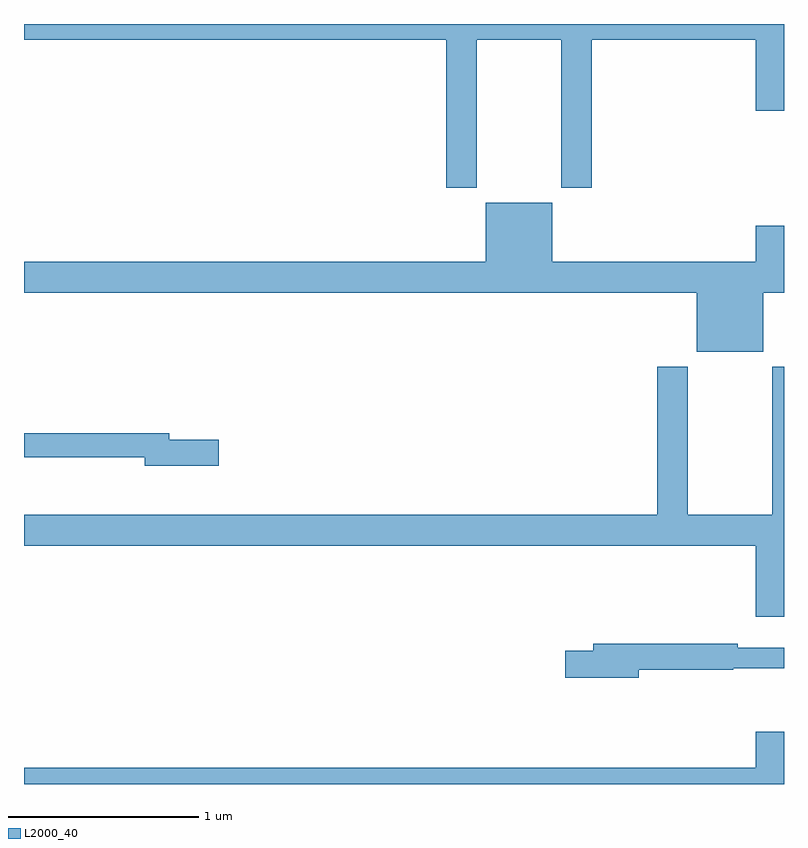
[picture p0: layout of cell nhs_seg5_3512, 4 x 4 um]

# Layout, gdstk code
import gdstk
lib = gdstk.Library(unit=1e-6, precision=1e-09)
def P(c, l, *ps):  # polygons
    for p in ps: c.add(gdstk.Polygon(p, *l))
L2000_40 = (2000, 40)

nhs_seg5_3512 = lib.new_cell('nhs_seg5_3512')
P(nhs_seg5_3512, L2000_40, [(319.383,900.716),(319.828,900.716),(319.828,899.937),(319.988,899.937),(319.988,900.716),(320.852,900.716),(320.852,900.342),(321,900.342),(321,900.799),(317,900.799),(317,900.716),(319.223,900.716),(319.223,899.937),(319.383,899.937)],
  [(319.43,899.857),(319.43,899.548),(317,899.548),(317,899.384),(320.54,899.384),(320.54,899.075),(320.89,899.075),(320.89,899.384),(321,899.384),(321,899.737),(320.852,899.737),(320.852,899.548),(319.78,899.548),(319.78,899.857)],
  [(321,898.996),(320.938,898.996),(320.938,898.216),(320.493,898.216),(320.493,898.996),(320.333,898.996),(320.333,898.216),(317,898.216),(317,898.052),(320.852,898.052),(320.852,897.678),(321,897.678)],
  [(318.025,898.61),(317.764,898.61),(317.764,898.646),(317,898.646),(317,898.518),(317.636,898.518),(317.636,898.475),(318.025,898.475)],
  [(320.236,897.4),(320.732,897.4),(320.732,897.408),(321,897.408),(321,897.517),(320.756,897.517),(320.756,897.536),(319.997,897.536),(319.997,897.5),(319.848,897.5),(319.848,897.358),(320.236,897.358)],
  [(317,896.799),(321,896.799),(321,897.073),(320.852,897.073),(320.852,896.884),(317,896.884)])

lib.write_gds('nhs_seg5_3512.gds')
